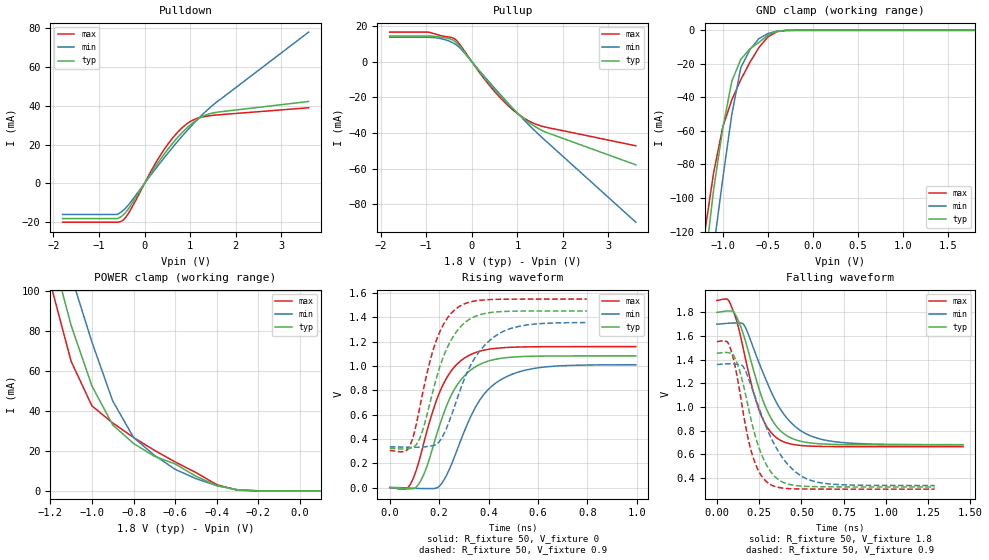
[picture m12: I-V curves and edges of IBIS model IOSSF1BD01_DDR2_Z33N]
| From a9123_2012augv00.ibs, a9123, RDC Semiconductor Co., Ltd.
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[Model]   IOSSF1BD01_DDR2_Z33N
|   IOSSF1BD01_DDR2_Z33N  MODEL
|   DATE   :  2009/9/1 ;
|   REVISION :  0.1.1 ;
|   Model generated   Tue Sep  1 16:56:58 2009
Model_type  I/O
Polarity   Inverting
Enable   Active-Low
| Signals
Vinl = 0.700
Vinh = 1.100
Vmeas = 0.9
| variable   typ   min   max
C_comp   3.3819pf   2.9908pf   4.3810pf
[Model Spec]
|   Subparameter   typ   min   max
Vinh   1.100   1.050   1.150
Vinl   0.700   0.650   0.750
Vmeas   0.900   0.850   0.950
[Temperature Range]   25   125   -40
|   typ   min   max
[Voltage Range]   1.8V   1.7V   1.9V
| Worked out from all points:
|   slope of the pulldown table from 0 to 0.27 V, typ, clamps not added: 27.7 ohm
|   slope of the pullup table from 0 to 0.27 V, typ, clamps not added: 31 ohm
|   GND clamp passes 1 mA (typ) near -0.42 V on its own axis
|   POWER clamp passes 1 mA (typ) near -0.32 V on its own axis
|   rising waveform, R_fixture 50, V_fixture 0: 20-80 % time 123ps typ, 147ps min, 118ps max; typ from 0.001 V to 1.08 V
|   falling waveform, R_fixture 50, V_fixture 1.8: 20-80 % time 156ps typ, 211ps min, 136ps max; typ from 1.8 V to 0.679 V
|   rising waveform, R_fixture 50, V_fixture 0.9: 20-80 % time 108ps typ, 137ps min, 96.4ps max; typ from 0.324 V to 1.45 V
|   falling waveform, R_fixture 50, V_fixture 0.9: 20-80 % time 130ps typ, 196ps min, 105ps max; typ from 1.45 V to 0.323 V
[Pulldown]
|   Voltage   I(typ)   I(min)   I(max)
-1.8V     -18.16mA   -16.06mA   -20.03mA
-600mV    -18.16mA   -16.06mA   -20.03mA
-480mV    -16.54mA   -14.19mA   -19.09mA
-400mV    -14.58mA   -12.36mA   -17.1mA
-320mV    -11.93mA   -10.07mA   -14.12mA
200mV     7.316mA    6.228mA    8.746mA
480mV     16.6mA     14.62mA    19.15mA
800mV     25.56mA    23.66mA    28.1mA
1.08V     31.58mA    30.94mA    32.79mA
1.32V     34.97mA    36.57mA    34.43mA
1.56V     36.52mA    41.48mA    35.18mA
3.6V      42.19mA    77.95mA    38.96mA
[GND Clamp]
|   Voltage   I(typ)   I(min)   I(max)
-1.8V     -450mA     -480mA     -420mA
-1.2V     -140.9mA   -175.9mA   -120.9mA
-1.1V     -94.77mA   -129.8mA   -84.77mA
-1V       -58.82mA   -88.82mA   -57.82mA
-900mV    -30.53mA   -50.53mA   -41.53mA
-800mV    -17.35mA   -22.35mA   -29.48mA
-700mV    -11.13mA   -11.7mA    -19.21mA
-600mV    -7.283mA   -5.004mA   -10.38mA
-500mV    -2.899mA   -1.948mA   -3.955mA
-400mV    -644.1uA   -458uA     -833.8uA
-300mV    -60.46uA   -61.65uA   -63.44uA
1.8V      0A         0A         0A
[Pullup]
|   Voltage   I(typ)   I(min)   I(max)
|( VDD-Vmeas )
-1.8V     14.37mA    13.68mA    16.58mA
-960mV    14.37mA    13.68mA    16.58mA
-760mV    13.98mA    13.32mA    15.18mA
-480mV    12.77mA    11.35mA    13.72mA
-320mV    10.32mA    8.999mA    11.47mA
200mV     -6.514mA   -6.013mA   -7.12mA
520mV     -16.22mA   -15.39mA   -17.25mA
880mV     -25.87mA   -25.52mA   -26.51mA
1.2V      -32.97mA   -34.04mA   -32.47mA
1.4V      -36.51mA   -39.08mA   -34.95mA
1.64V     -39.66mA   -44.77mA   -36.79mA
3.6V      -57.79mA   -89.93mA   -47.12mA
[POWER Clamp]
|   Voltage   I(typ)   I(min)   I(max)
|( VDD-Vmeas )
-1.8V     400mA      425mA      382mA
-1.2V     122.3mA    147.3mA    104.3mA
-1.1V     82.94mA    107.9mA    64.94mA
-1V       52.6mA     74.6mA     42.6mA
-900mV    33.04mA    45.04mA    34.04mA
-800mV    23.77mA    26.77mA    26.77mA
-700mV    17.35mA    17.85mA    20.35mA
-600mV    13.5mA     10.81mA    14.5mA
-500mV    7.315mA    6.131mA    9.175mA
-400mV    2.711mA    2.613mA    3.098mA
-300mV    444.6uA    639.1uA    369.4uA
100mV     0A         0A         0A
[Rising Waveform]
R_fixture = 50
V_fixture = 0
V_fixture_min = 0
V_fixture_max = 0
C_fixture = 0
L_fixture = 0
|   Time   V(typ)   V(min)   V(max)
0s        845.5uV    1.063mV    909.4uV
72ps      -10.27mV   -2.471mV   -2.736mV
120ps     38.32mV    -6.963mV   229mV
168ps     287.2mV    -7.443mV   588.4mV
210ps     562.5mV    34.6mV     822.5mV
258ps     795mV      232.5mV    983.9mV
312ps     939.6mV    512.4mV    1.078V
396ps     1.039V     801.8mV    1.137V
510ps     1.076V     943.8mV    1.156V
996ps     1.084V     1.011V     1.16V
[Falling Waveform]
R_fixture = 50
V_fixture = 1.8
V_fixture_min = 1.7
V_fixture_max = 1.9
C_fixture = 0
L_fixture = 0
|   Time   V(typ)   V(min)   V(max)
0s        1.8V       1.7V       1.9V
70ps      1.811V     1.708V     1.898V
105ps     1.79V      1.71V      1.777V
161ps     1.593V     1.692V     1.458V
210ps     1.343V     1.521V     1.158V
259ps     1.108V     1.337V     937.8mV
371ps     805.6mV    991mV      722.1mV
490ps     712.3mV    805mV      675.1mV
651ps     685.6mV    716.5mV    665.6mV
1.456ns   679.4mV    681.3mV    664.4mV
[Rising Waveform]
R_fixture = 50
V_fixture = 0.9
V_fixture_min = 0.85
V_fixture_max = 0.95
C_fixture = 0
L_fixture = 0
|   Time   V(typ)   V(min)   V(max)
0s        323.6mV    335.3mV    305.7mV
72ps      319.6mV    332.4mV    314.2mV
114ps     375.1mV    331.9mV    585.8mV
186ps     880mV      353.3mV    1.197V
222ps     1.102V     454mV      1.359V
270ps     1.282V     714.4mV    1.474V
342ps     1.405V     1.059V     1.534V
438ps     1.446V     1.261V     1.549V
558ps     1.453V     1.339V     1.551V
798ps     1.453V     1.358V     1.551V
[Falling Waveform]
R_fixture = 50
V_fixture = 0.9
V_fixture_min = 0.85
V_fixture_max = 0.95
C_fixture = 0
L_fixture = 0
|   Time   V(typ)   V(min)   V(max)
0s        1.454V     1.359V     1.552V
63ps      1.459V     1.365V     1.548V
105ps     1.419V     1.363V     1.359V
154ps     1.2V       1.343V     964.6mV
203ps     886.4mV    1.175V     625.8mV
252ps     642.4mV    980.1mV    444mV
308ps     473.9mV    775.6mV    351.7mV
420ps     348.5mV    513.3mV    310.3mV
553ps     327.5mV    380.5mV    306.1mV
1.288ns   323.5mV    335.6mV    305.2mV
[Ramp]
| variables   typ   min   max
dV/dt_r   0.650218/123.296p 0.60645/147.256p 0.696/117.658p
dV/dt_f   0.67242/156.111p 0.611346/210.695p 0.741468/136.139p
R_load   = 50.000000 | Ohms
| [End Model]
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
